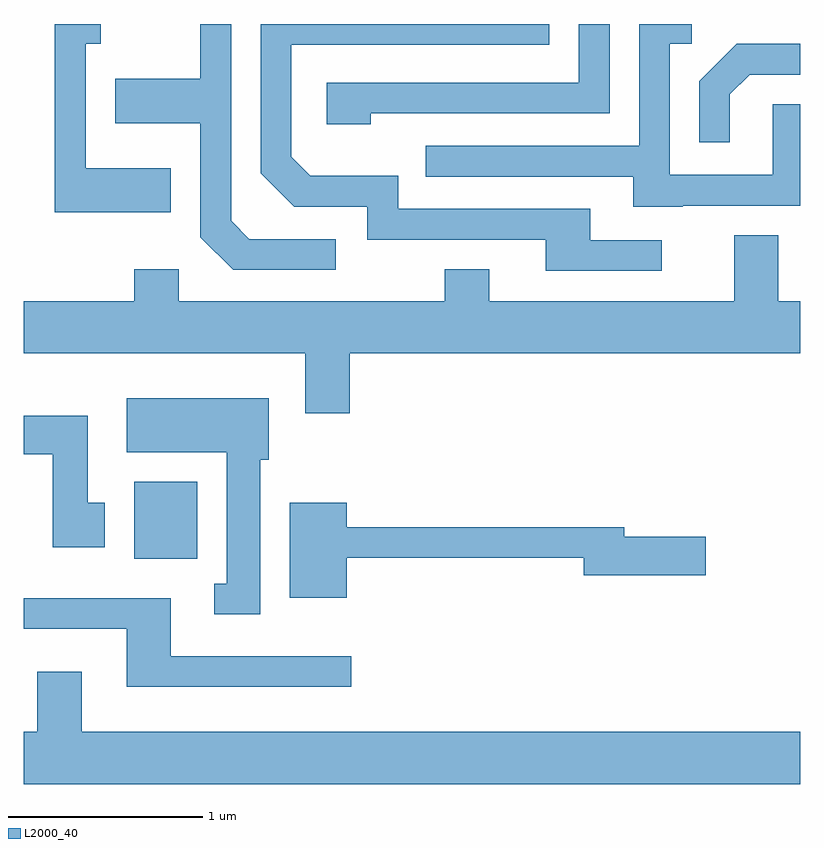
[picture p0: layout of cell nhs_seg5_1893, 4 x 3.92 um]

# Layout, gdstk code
import gdstk
lib = gdstk.Library(unit=1e-6, precision=1e-09)
def R(c, l, rs):  # rectangles x0, y0, x1, y1
    for r in rs: c.add(gdstk.rectangle(r[:2], r[2:], *l))
def P(c, l, *ps):  # polygons
    for p in ps: c.add(gdstk.Polygon(p, *l))
L2000_40 = (2000, 40)

nhs_seg5_1893 = lib.new_cell('nhs_seg5_1893')
R(nhs_seg5_1893, L2000_40, [(242.181,1431.316,242.504,1431.714)])
P(nhs_seg5_1893, L2000_40, [(243.399,1433.611),(244.629,1433.611),(244.629,1434.072),(244.471,1434.072),(244.471,1433.769),(243.171,1433.769),(243.171,1433.556),(243.399,1433.556)],
  [(242.369,1433.329),(241.929,1433.329),(241.929,1433.971),(242.008,1433.971),(242.008,1434.072),(241.771,1434.072),(241.771,1433.101),(242.369,1433.101)],
  [(244.898,1432.959),(244.529,1432.959),(244.529,1433.119),(243.539,1433.119),(243.539,1433.289),(243.087,1433.289),(242.989,1433.387),(242.989,1433.966),(244.319,1433.966),(244.319,1434.072),(242.831,1434.072),(242.831,1433.304),(243.004,1433.131),(243.381,1433.131),(243.381,1432.961),(244.301,1432.961),(244.301,1432.801),(244.898,1432.801)],
  [(245.005,1433.136),(245.611,1433.136),(245.611,1433.659),(245.471,1433.659),(245.471,1433.294),(244.939,1433.294),(244.939,1433.971),(245.053,1433.971),(245.053,1434.072),(244.781,1434.072),(244.781,1433.444),(243.683,1433.444),(243.683,1433.286),(244.751,1433.286),(244.751,1433.131),(245.005,1433.131)],
  [(243.218,1432.964),(242.772,1432.964),(242.679,1433.057),(242.679,1434.072),(242.521,1434.072),(242.521,1433.789),(242.081,1433.789),(242.081,1433.561),(242.521,1433.561),(242.521,1432.974),(242.689,1432.806),(243.218,1432.806)],
  [(245.249,1433.709),(245.352,1433.811),(245.611,1433.811),(245.611,1433.969),(245.284,1433.969),(245.091,1433.777),(245.091,1433.463),(245.249,1433.463)],
  [(243.289,1432.376),(245.611,1432.376),(245.611,1432.644),(245.499,1432.644),(245.499,1432.984),(245.271,1432.984),(245.271,1432.644),(244.009,1432.644),(244.009,1432.809),(243.781,1432.809),(243.781,1432.644),(242.409,1432.644),(242.409,1432.809),(242.181,1432.809),(242.181,1432.644),(241.611,1432.644),(241.611,1432.376),(243.061,1432.376),(243.061,1432.066),(243.289,1432.066)],
  [(242.829,1431.826),(242.874,1431.826),(242.874,1432.144),(242.141,1432.144),(242.141,1431.866),(242.656,1431.866),(242.656,1431.189),(242.593,1431.189),(242.593,1431.031),(242.829,1431.031)],
  [(242.029,1431.604),(241.939,1431.604),(241.939,1432.054),(241.611,1432.054),(241.611,1431.856),(241.761,1431.856),(241.761,1431.376),(242.029,1431.376)],
  [(243.274,1431.321),(244.496,1431.321),(244.496,1431.231),(245.124,1431.231),(245.124,1431.429),(244.704,1431.429),(244.704,1431.479),(243.274,1431.479),(243.274,1431.604),(242.981,1431.604),(242.981,1431.116),(243.274,1431.116)],
  [(243.298,1430.814),(242.369,1430.814),(242.369,1431.114),(241.611,1431.114),(241.611,1430.956),(242.141,1430.956),(242.141,1430.656),(243.298,1430.656)],
  [(245.611,1430.424),(241.909,1430.424),(241.909,1430.734),(241.681,1430.734),(241.681,1430.424),(241.611,1430.424),(241.611,1430.156),(245.611,1430.156)])

lib.write_gds('nhs_seg5_1893.gds')
